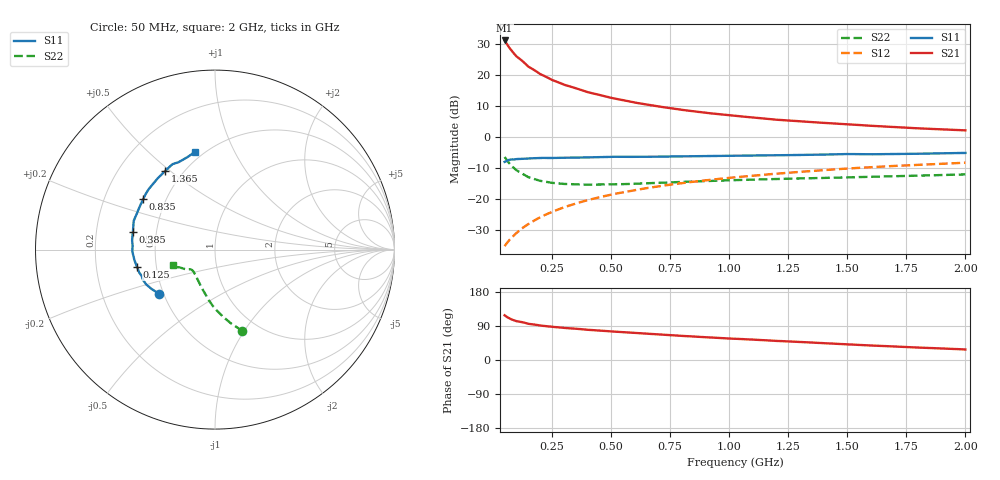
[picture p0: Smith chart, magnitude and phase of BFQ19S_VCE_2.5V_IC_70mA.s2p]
! Infineon Technologies  Discrete & RF Semiconductors
! BFQ19S
! VCE =  2.5 V,  IC =  70 mA
! Common Emitter S-Parameters:  Jan 2016
# GHz  S  MA  R  50
!  f  S11  S21  S12  S22
! GHz  MAG  ANG  MAG  ANG  MAG  ANG  MAG  ANG
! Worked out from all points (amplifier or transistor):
!   391 points, 50 MHz to 2 GHz, reference 50 ohm
!   highest |S21| = 31.2 dB at 50 MHz (marker M1)
!   |S21| within 3 dB of that: start of sweep to 76.59 MHz
!   unconditionally stable (mu >= 1): 200.5 MHz to 1.877 GHz
!   at 375 MHz: K = 1.03, MAG = 16.9 dB, |S12| = -20.9 dB
!   at 1.025 GHz: K = 1.04, MAG = 8.7 dB, |S12| = -13.0 dB
!   at 2 GHz: K = 0.99, MSG = 5.2 dB, |S12| = -8.3 dB
!   S11 on the Smith chart (normalised r, x): 50 MHz: 0.47, -0.28; 125 MHz: 0.39, -0.09; 385 MHz: 0.37, +0.09; 835 MHz: 0.37, +0.28; 1.365 GHz: 0.40, +0.48; 2 GHz: 0.45, +0.71
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0.05  0.3974 -141.8  36.33 118.0  0.0173 66.2  0.4775 -71.4
0.06  0.415 -147.9  31.55 113.4  0.0195 66.7  0.4206 -77.8
0.07  0.4296 -153.1  27.73 109.8  0.0217 67.5  0.3764 -83.2
0.08  0.435 -157.0  24.7 106.9  0.0238 68.2  0.3424 -87.9
0.09  0.4344 -160.4  22.23 104.5  0.026 68.8  0.3143 -92.2
0.1  0.4411 -163.0  20.14 102.5  0.0282 70.0  0.2914 -95.8
0.125  0.4452 -167.5  16.92 99.7  0.0337 71.5  0.2567 -101.7
0.15  0.452 -171.9  13.76 95.6  0.0393 72.6  0.2255 -109.3
0.2  0.4608 -178.1  10.45 91.0  0.0504 73.7  0.1965 -118.5
0.25  0.4595 177.3  8.397 87.6  0.0618 74.1  0.1825 -125.2
0.3  0.4647 173.6  7.032 84.7  0.073 73.8  0.1752 -129.8
0.375  0.4674 168.6  5.745 81.3  0.0899 72.9  0.1714 -134.4
0.385  0.468 167.9  5.575 80.7  0.0921 72.8  0.171 -135.0
0.5  0.4807 160.7  4.304 75.4  0.1173 71.4  0.1715 -139.2
0.6  0.4793 155.7  3.608 71.3  0.1389 69.5  0.1758 -141.6
0.7  0.4826 151.0  3.125 67.3  0.1602 67.7  0.1819 -142.9
0.835  0.4894 144.7  2.653 62.5  0.1872 65.1  0.1911 -144.8
1.03  0.5009 136.2  2.191 55.9  0.2248 61.3  0.202 -147.7
1.35  0.5172 123.0  1.746 46.0  0.2834 55.2  0.2169 -152.4
1.365  0.5184 122.4  1.731 45.6  0.2862 55.0  0.2176 -152.6
1.675  0.5307 110.3  1.469 36.3  0.3379 48.8  0.232 -155.2
2  0.5547 101.8  1.283 27.8  0.3853 42.8  0.2494 -159.3
